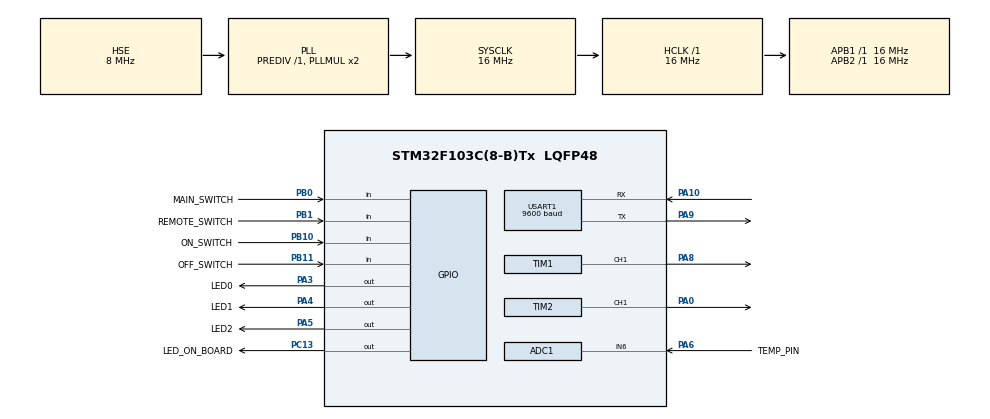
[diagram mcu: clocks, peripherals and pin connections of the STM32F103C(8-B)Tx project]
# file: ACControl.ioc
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Mcu.Family=STM32F1
ADC1.ContinuousConvMode=ENABLE
USART1.BaudRate=9600
USART1.WordLength=WORDLENGTH_8B
PA6.GPIO_Label=TEMP_PIN
PB0.GPIO_Label=MAIN_SWITCH
PB11.Signal=GPIO_Input
RCC.SYSCLKSource=RCC_SYSCLKSOURCE_PLLCLK
ProjectManager.StackSize=0x400
PD1-OSC_OUT.Signal=RCC_OSC_OUT
TIM1.Prescaler=15
RCC.HCLKFreq_Value=16000000
RCC.APB2TimFreq_Value=16000000
Dma.ADC1.0.Direction=DMA_PERIPH_TO_MEMORY
Dma.ADC1.0.MemDataAlignment=DMA_MDATAALIGN_WORD
RCC.AHBFreq_Value=16000000
TIM1.Channel-PWM\ Generation1\ CH1=TIM_CHANNEL_1
PA14.Mode=Serial_Wire
TIM3.Prescaler=15
PB1.GPIO_Label=REMOTE_SWITCH
Dma.ADC1.0.PeriphInc=DMA_PINC_DISABLE
SH.SharedAnalog_PA6.0=GPIO_Analog
SH.SharedAnalog_PA6.1=ADC1_IN6,IN6
PA8.Signal=S_TIM1_CH1
TIM2.Channel-PWM\ Generation1\ CH1=TIM_CHANNEL_1
TIM4.Period=1000
VP_TIM1_VS_ClockSourceINT.Mode=Internal
Mcu.Package=LQFP48
TIM2.Prescaler=15
PB1.Signal=GPIO_Input
PA6.Signal=SharedAnalog_PA6
ADC1.EnableInjectedConversion=DISABLE
PA10.Signal=USART1_RX
RCC.APB1TimFreq_Value=16000000
TIM1.Period=19999
NVIC.USART1_IRQn=true\:0\:0\:false\:false\:true\:true\:true
Dma.Request0=ADC1
PA4.GPIO_Label=LED1
VP_TIM3_VS_ClockSourceINT.Mode=Internal
PA3.Signal=GPIO_Output
RCC.PLLSourceVirtual=RCC_PLLSOURCE_HSE
TIM1.OCPolarity_1=TIM_OCPOLARITY_HIGH
Dma.ADC1.0.Instance=DMA1_Channel1
PD1-OSC_OUT.Mode=HSE-External-Oscillator
PA10.Mode=Asynchronous
PB11.GPIO_Label=OFF_SWITCH
PC13-TAMPER-RTC.Signal=GPIO_Output
PD0-OSC_IN.Signal=RCC_OSC_IN
TIM2.OCPolarity_1=TIM_OCPOLARITY_HIGH
PA0-WKUP.Signal=S_TIM2_CH1_ETR
PA13.Signal=SYS_JTMS-SWDIO
Dma.ADC1.0.PeriphDataAlignment=DMA_PDATAALIGN_WORD
PA9.Mode=Asynchronous
SH.S_TIM1_CH1.0=TIM1_CH1,PWM Generation1 CH1
ProjectManager.TargetToolchain=Makefile
PB10.GPIO_Label=ON_SWITCH
Dma.ADC1.0.Mode=DMA_CIRCULAR
Dma.ADC1.0.Priority=DMA_PRIORITY_LOW
PA9.Signal=USART1_TX
USART1.Parity=PARITY_NONE
ADC1.Channel-1\#ChannelRegularConversion=ADC_CHANNEL_6
RCC.USBFreq_Value=16000000
TIM4.Prescaler=16000-1
PD0-OSC_IN.Mode=HSE-External-Oscillator
PB10.Signal=GPIO_Input
PA5.Signal=GPIO_Output
board=custom
PC13-TAMPER-RTC.GPIO_Label=LED_ON_BOARD
NVIC.TIM3_IRQn=true\:0\:0\:false\:false\:true\:true\:true
RCC.APB2Freq_Value=16000000
VP_TIM2_VS_ClockSourceINT.Mode=Internal
TIM2.Period=19999
PA13.Mode=Serial_Wire
Mcu.Name=STM32F103C(8-B)Tx
PA4.Signal=GPIO_Output
ADC1.SamplingTime-1\#ChannelRegularConversion=ADC_SAMPLETIME_239CYCLES_5
RCC.SYSCLKFreq_VALUE=16000000
ADC1.master=1
PA5.GPIO_Label=LED2
USART1.VirtualMode=VM_ASYNC
ADC1.Rank-1\#ChannelRegularConversion=1
SH.S_TIM2_CH1_ETR.0=TIM2_CH1,PWM Generation1 CH1
PA14.Signal=SYS_JTCK-SWCLK
Dma.ADC1.0.MemInc=DMA_MINC_ENABLE
ProjectManager.HeapSize=0x200
VP_TIM4_VS_ClockSourceINT.Mode=Internal
NVIC.PriorityGroup=NVIC_PRIORITYGROUP_4
ADC1.NbrOfConversionFlag=1
NVIC.DMA1_Channel1_IRQn=true\:0\:0\:false\:false\:true\:false\:true
ADC1.DataAlign=ADC_DATAALIGN_RIGHT
NVIC.TIM4_IRQn=true\:0\:0\:false\:false\:true\:true\:true
RCC.APB1Freq_Value=16000000
PB0.Signal=GPIO_Input
PB0.GPIO_PuPd=GPIO_PULLDOWN
PA3.GPIO_Label=LED0

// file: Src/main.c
/* USER CODE BEGIN Header */
/**
 ******************************************************************************
 * @file           : main.c
 * @brief          : Main program body
 ******************************************************************************
 * @attention
 *
 * <h2><center>&copy; Copyright (c) 2021 STMicroelectronics.
 * All rights reserved.</center></h2>
 *
 * This software component is licensed by ST under BSD 3-Clause license,
 * the "License"; You may not use this file except in compliance with the
 * License. You may obtain a copy of the License at:
 *                        opensource.org/licenses/BSD-3-Clause
 *
 ******************************************************************************
 */
/* USER CODE END Header */
#include "main.h"
#include "adc.h"
#include "dma.h"
#include "tim.h"
#include "usart.h"
#include "gpio.h"

/* USER CODE BEGIN Includes */
#include "core.h"
static volatile int test = 0;
/* USER CODE END Includes */

void SystemClock_Config(void);
/* USER CODE BEGIN PFP */
int _write(int fd, char *ptr, int len) {
  HAL_UART_Transmit(&huart1, (uint8_t *)ptr, len, 0xFFFF);
  return len;
}
/* USER CODE END PFP */

int main(void)
{

  /* MCU Configuration--------------------------------------------------------*/

  /* Reset of all peripherals, Initializes the Flash interface and the Systick. */
  HAL_Init();

  /* Configure the system clock */
  SystemClock_Config();

  /* Initialize all configured peripherals */
  MX_GPIO_Init();
  MX_DMA_Init();
  MX_USART1_UART_Init();
  MX_TIM1_Init();
  MX_TIM2_Init();
  MX_TIM3_Init();
  MX_ADC1_Init();
  MX_TIM4_Init();
  /* USER CODE BEGIN 2 */
  while (!init_system())
    ;
  /* USER CODE END 2 */

  /* Infinite loop */
  /* USER CODE BEGIN WHILE */
  int counter = 0;
  while (1) {
    /* USER CODE END WHILE */

    /* USER CODE BEGIN 3 */
    HAL_Delay(1000);

    update_info();

    if(state.mode == TIME_MODE)
      timeCheck();
    else if(state.mode == TEMP_MODE)
      tempCheck();
    // if(state.mode != ONOFF_MODE)
    //   validCheck();

    if (counter >= 15) {
      send_state();
      counter = 0;
    } else {
      counter++;
    }

    // if(state.mode == TEMP_MODE) tempCheck();
    // else if(state.mode == TIME_MODE) timeCheck();
  }
  /* USER CODE END 3 */
}

void SystemClock_Config(void)
{
  RCC_OscInitTypeDef RCC_OscInitStruct = {0};
  RCC_ClkInitTypeDef RCC_ClkInitStruct = {0};
  RCC_PeriphCLKInitTypeDef PeriphClkInit = {0};

  /** Initializes the RCC Oscillators according to the specified parameters
  * in the RCC_OscInitTypeDef structure.
  */
  RCC_OscInitStruct.OscillatorType = RCC_OSCILLATORTYPE_HSE;
  RCC_OscInitStruct.HSEState = RCC_HSE_ON;
  RCC_OscInitStruct.HSEPredivValue = RCC_HSE_PREDIV_DIV1;
  RCC_OscInitStruct.HSIState = RCC_HSI_ON;
  RCC_OscInitStruct.PLL.PLLState = RCC_PLL_ON;
  RCC_OscInitStruct.PLL.PLLSource = RCC_PLLSOURCE_HSE;
  RCC_OscInitStruct.PLL.PLLMUL = RCC_PLL_MUL2;
  if (HAL_RCC_OscConfig(&RCC_OscInitStruct) != HAL_OK)
  {
    Error_Handler();
  }
  /** Initializes the CPU, AHB and APB buses clocks
  */
  RCC_ClkInitStruct.ClockType = RCC_CLOCKTYPE_HCLK|RCC_CLOCKTYPE_SYSCLK
                              |RCC_CLOCKTYPE_PCLK1|RCC_CLOCKTYPE_PCLK2;
  RCC_ClkInitStruct.SYSCLKSource = RCC_SYSCLKSOURCE_PLLCLK;
  RCC_ClkInitStruct.AHBCLKDivider = RCC_SYSCLK_DIV1;
  RCC_ClkInitStruct.APB1CLKDivider = RCC_HCLK_DIV1;
  RCC_ClkInitStruct.APB2CLKDivider = RCC_HCLK_DIV1;

  if (HAL_RCC_ClockConfig(&RCC_ClkInitStruct, FLASH_LATENCY_0) != HAL_OK)
  {
    Error_Handler();
  }
  PeriphClkInit.PeriphClockSelection = RCC_PERIPHCLK_ADC;
  PeriphClkInit.AdcClockSelection = RCC_ADCPCLK2_DIV2;
  if (HAL_RCCEx_PeriphCLKConfig(&PeriphClkInit) != HAL_OK)
  {
    Error_Handler();
  }
}

/* USER CODE BEGIN 4 */
// void HAL_ADC_ConvCpltCallback(ADC_HandleTypeDef *hadc) {
//   temp = adc_buf *
//          0.322; // convert value from adc buffer to temperature in Centigrade
//   HAL_ADC_Start_IT(&hadc1);
// }
// void HAL_GPIO_EXTI_Callback(uint16_t GPIO_Pin)
// {
//   if(GPIO_Pin == MAIN_SWITCH_Pin)
//   {
//     HAL_Delay(20);
//     if(HAL_GPIO_ReadPin(MAIN_SWITCH_GPIO_Port, MAIN_SWITCH_Pin) ==
//     GPIO_PIN_SET)
//     {
//       HAL_GPIO_TogglePin(LED_ON_BOARD_GPIO_Port, LED_ON_BOARD_Pin);
//     }

//     if(HAL_GPIO_ReadPin(MAIN_SWITCH_GPIO_Port, MAIN_SWITCH_Pin) ==
//     GPIO_PIN_RESET)
//     {
//       HAL_GPIO_TogglePin(LED_ON_BOARD_GPIO_Port, LED_ON_BOARD_Pin);
//     }
//   }
// }

void HAL_UART_RxCpltCallback(UART_HandleTypeDef *huart) {
  /* Prevent unused argument(s) compilation warning */
  UNUSED(huart);
  /* NOTE: This function Should not be modified, when the callback is needed,
           the HAL_UART_TxCpltCallback could be implemented in the user file
   */

  if (Uart1_Rx_Cnt >= 511) //溢出判断
  {
    Uart1_Rx_Cnt = 0;
    memset(RxBuffer, 0x00, sizeof(RxBuffer));
    HAL_UART_Transmit(&huart1, (uint8_t *)"OVERFLOW", 8, 0xFFFF);

  } else {
    RxBuffer[Uart1_Rx_Cnt++] = aRxBuffer; //接收数据转存
  }

  HAL_UART_Receive_IT(&huart1, (uint8_t *)&aRxBuffer, 1); //再开启接收中断
}

// #ifdef __GNUC__
// #define PUTCHAR_PROTOTYPE int __io_putchar(int ch)
// #else
// #define PUTCHAR_PROTOTYPE int fputc(int ch, FILE *f)
// #endif
// PUTCHAR_PROTOTYPE
// {
//     //具体哪个串口可以更改USART1为其它串口
//     while ((USART1->SR & 0X40) == 0); //循环发送,直到发送完毕
//     USART1->DR = (uint8_t) ch;
//     return ch;
// }

/* USER CODE END 4 */

void Error_Handler(void)
{
}

#ifdef  USE_FULL_ASSERT
/**
  * @brief  Reports the name of the source file and the source line number
  *         where the assert_param error has occurred.
  * @param  file: pointer to the source file name
  * @param  line: assert_param error line source number
  * @retval None
  */
void assert_failed(uint8_t *file, uint32_t line)
{
  /* USER CODE BEGIN 6 */
  /* User can add his own implementation to report the file name and line
     number,
     tex: printf("Wrong parameters value: file %s on line %d\r\n", file, line)
   */
  /* USER CODE END 6 */
}
#endif /* USE_FULL_ASSERT */

/************************ (C) COPYRIGHT STMicroelectronics *****END OF FILE****/
